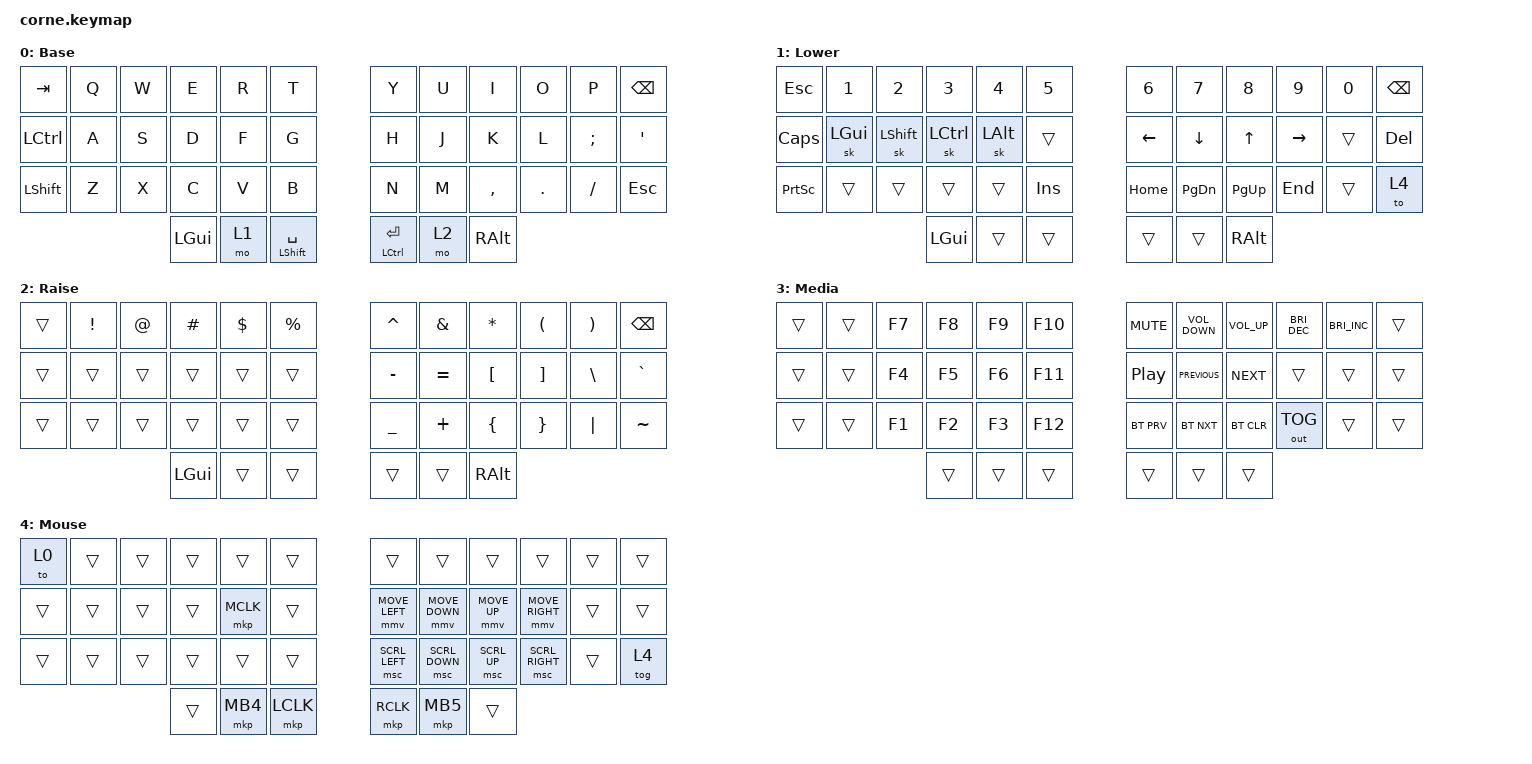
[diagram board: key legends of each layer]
/*
 * Copyright (c) 2020 The ZMK Contributors
 *
 * SPDX-License-Identifier: MIT
 */

#include <behaviors.dtsi>
#include <dt-bindings/zmk/bt.h>
#include <dt-bindings/zmk/keys.h>
#include <dt-bindings/zmk/outputs.h>
#include <dt-bindings/zmk/pointing.h>

/ {
    combos {
        compatible = "zmk,combos";

        delete {
            bindings = <&kp DELETE>;
            key-positions = <33 32>;
        };

        esc {
            bindings = <&kp ESC>;
            key-positions = <27 28>;
        };

        caps_word {
            bindings = <&caps_word>;
            key-positions = <17 18>;
        };

        backspace {
            bindings = <&kp BACKSPACE>;
            key-positions = <20 21>;
        };

        at {
            bindings = <&kp AT_SIGN>;
            key-positions = <16 19>;
        };
    };

    behaviors {
        hml: homerow_mods_left {
            compatible = "zmk,behavior-hold-tap";
            label = "HOMEROW_MODS_LEFT_HAND";
            bindings = <&kp>, <&kp>;

            #binding-cells = <2>;
            tapping-term-ms = <280>;
            hold-trigger-key-positions = <6 7 20 8 9 10 11 23 35 33 21 22 34 18 19 20 30 31 32 39 41 40>;
            flavor = "balanced";
            hold-trigger-on-release;
            require-prior-idle-ms = <150>;
            quick-tap-ms = <175>;
        };

        hmr: homewrow_mods_right {
            compatible = "zmk,behavior-hold-tap";
            label = "HOMEROW_MODS_RIGHT_HAND";
            bindings = <&kp>, <&kp>;

            #binding-cells = <2>;
            tapping-term-ms = <280>;
            hold-trigger-key-positions = <0 1 2 3 4 5 12 13 14 15 16 17 24 25 26 27 28 29 36 37 38>;
            flavor = "balanced";
            quick-tap-ms = <175>;
            require-prior-idle-ms = <150>;
            hold-trigger-on-release;
        };
    };

    keymap {
        compatible = "zmk,keymap";

        default_layer {
            // -----------------------------------------------------------------------------------------
            // |  TAB |  Q  |  W  |  E  |  R  |  T  |   |  Y  |  U   |  I  |  O  |  P  | BSPC |
            // | CTRL |  A  |  S  |  D  |  F  |  G  |   |  H  |  J   |  K  |  L  |  ;  |  '   |
            // | SHFT |  Z  |  X  |  C  |  V  |  B  |   |  N  |  M   |  ,  |  .  |  /  | ESC  |
            //                    | GUI | LWR | SPC |   | ENT | RSE  | ALT |

            bindings = <
&kp TAB    &kp Q  &kp W  &kp E     &kp R  &kp T                   &kp Y            &kp U  &kp I      &kp O    &kp P          &kp BSPC
&kp LCTRL  &kp A  &kp S  &kp D     &kp F  &kp G                   &kp H            &kp J  &kp K      &kp L    &kp SEMICOLON  &kp SQT
&kp LSHFT  &kp Z  &kp X  &kp C     &kp V  &kp B                   &kp N            &kp M  &kp COMMA  &kp DOT  &kp FSLH       &kp ESC
                         &kp LGUI  &mo 1  &mt LEFT_SHIFT SPACE    &mt LCTRL ENTER  &mo 2  &kp RALT
            >;

            label = "Base";
        };

        lower_layer {
            // -----------------------------------------------------------------------------------------
            // |  TAB |  1  |  2  |  3  |  4  |  5  |   |  6  |  7  |  8  |  9  |  0  | BSPC |
            // | BTCLR| BT1 | BT2 | BT3 | BT4 | BT5 |   | LFT | DWN |  UP | RGT |     |      |
            // | SHFT |     |     |     |     |     |   |     |     |     |     |     |      |
            //                    | GUI |     | SPC |   | ENT |     | ALT |

            bindings = <
&kp ESC          &kp N1    &kp N2     &kp N3     &kp N4    &kp N5     &kp N6    &kp N7         &kp N8       &kp N9     &kp N0  &kp BSPC
&kp CAPSLOCK     &sk LGUI  &sk LSHFT  &sk LCTRL  &sk LALT  &trans     &kp LEFT  &kp DOWN       &kp UP       &kp RIGHT  &trans  &kp DELETE
&kp PRINTSCREEN  &trans    &trans     &trans     &trans    &kp INS    &kp HOME  &kp PAGE_DOWN  &kp PAGE_UP  &kp END    &trans  &to 4
                                      &kp LGUI   &trans    &trans     &trans    &trans         &kp RALT
            >;

            label = "Lower";
        };

        raise_layer {
            // -----------------------------------------------------------------------------------------
            // |  TAB |  !  |  @  |  #  |  $  |  %  |   |  ^  |  &  |  *  |  (  |  )  | BSPC |
            // | CTRL |     |     |     |     |     |   |  -  |  =  |  [  |  ]  |  \  |  `   |
            // | SHFT |     |     |     |     |     |   |  _  |  +  |  {  |  }  | "|" |  ~   |
            //                    | GUI |     | SPC |   | ENT |     | ALT |

            bindings = <
&trans  &kp EXCL  &kp AT  &kp HASH  &kp DLLR  &kp PRCNT    &kp CARET  &kp AMPS   &kp ASTRK  &kp LPAR  &kp RPAR  &kp BSPC
&trans  &trans    &trans  &trans    &trans    &trans       &kp MINUS  &kp EQUAL  &kp LBKT   &kp RBKT  &kp BSLH  &kp GRAVE
&trans  &trans    &trans  &trans    &trans    &trans       &kp UNDER  &kp PLUS   &kp LBRC   &kp RBRC  &kp PIPE  &kp TILDE
                          &kp LGUI  &trans    &trans       &trans     &trans     &kp RALT
            >;

            label = "Raise";
        };

        media_fn {
            bindings = <
&trans  &trans  &kp F7  &kp F8  &kp F9  &kp F10    &kp C_MUTE        &kp C_VOLUME_DOWN  &kp C_VOLUME_UP  &kp C_BRIGHTNESS_DEC  &kp C_BRIGHTNESS_INC  &trans
&trans  &trans  &kp F4  &kp F5  &kp F6  &kp F11    &kp C_PLAY_PAUSE  &kp C_PREVIOUS     &kp C_NEXT       &trans                &trans                &trans
&trans  &trans  &kp F1  &kp F2  &kp F3  &kp F12    &bt BT_PRV        &bt BT_NXT         &bt BT_CLR       &out OUT_TOG          &trans                &trans
                        &trans  &trans  &trans     &trans            &trans             &trans
            >;

            label = "Media";
        };

        mouse {
            bindings = <
&to 0   &trans  &trans  &trans  &trans     &trans       &trans          &trans          &trans        &trans           &trans  &trans
&trans  &trans  &trans  &trans  &mkp MCLK  &trans       &mmv MOVE_LEFT  &mmv MOVE_DOWN  &mmv MOVE_UP  &mmv MOVE_RIGHT  &trans  &trans
&trans  &trans  &trans  &trans  &trans     &trans       &msc SCRL_LEFT  &msc SCRL_DOWN  &msc SCRL_UP  &msc SCRL_RIGHT  &trans  &tog 4
                        &trans  &mkp MB4   &mkp LCLK    &mkp RCLK       &mkp MB5        &trans
            >;

            label = "Mouse";
        };
    };

    conditional_layers {
        compatible = "zmk,conditional-layers";

        media_fn {
            if-layers = <1 2>;
            then-layer = <3>;
        };
    };
};
